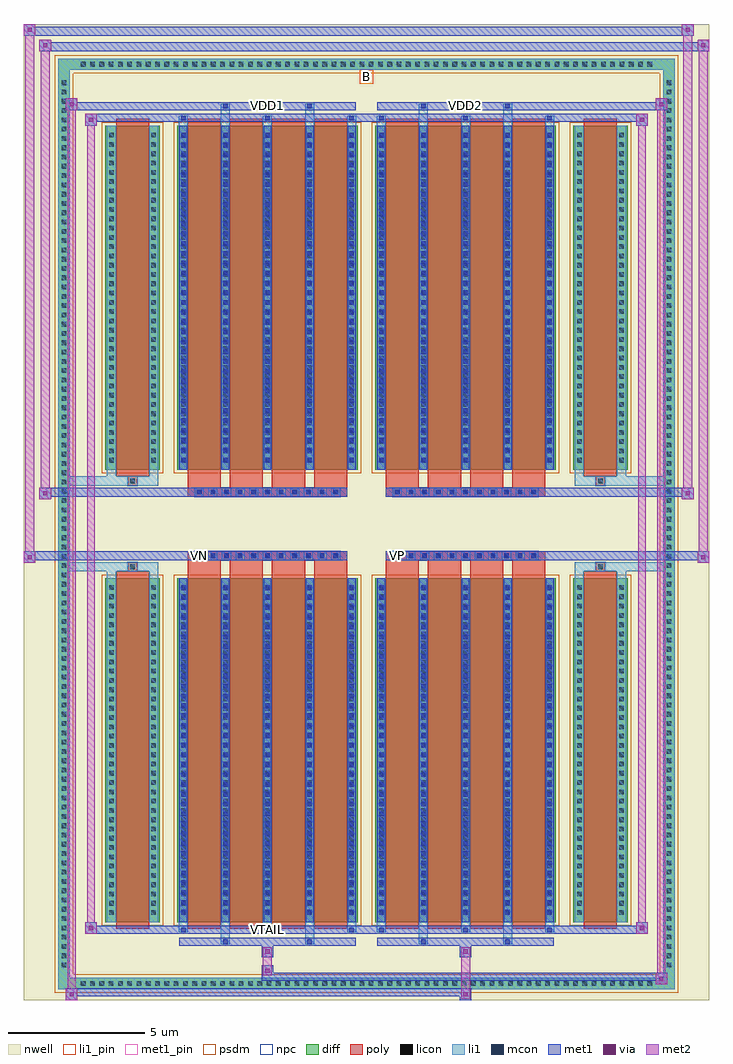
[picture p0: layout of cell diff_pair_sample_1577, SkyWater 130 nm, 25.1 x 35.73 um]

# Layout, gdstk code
import gdstk
lib = gdstk.Library(unit=1e-6, precision=5e-09)
def R(c, l, rs):  # rectangles x0, y0, x1, y1
    for r in rs: c.add(gdstk.rectangle(r[:2], r[2:], *l))
def A(c, l, x, y, w, h, nx, ny, dx, dy):  # array of equal rectangles
    R(c, l, [(x+i*dx, y+j*dy, x+i*dx+w, y+j*dy+h) for i in range(nx) for j in range(ny)])
def P(c, l, *ps):  # polygons
    for p in ps: c.add(gdstk.Polygon(p, *l))
nwell = (64, 20)
diff = (65, 20)
poly = (66, 20)
licon = (66, 44)
li1_pin = (67, 16)
li1 = (67, 20)
mcon = (67, 44)
met1_pin = (68, 16)
met1 = (68, 20)
via = (68, 44)
met2 = (69, 20)
psdm = (94, 20)
npc = (95, 20)

diff_pair_sample_1577 = lib.new_cell('diff_pair_sample_1577')
R(diff_pair_sample_1577, nwell, [(-12.55,-17.43,12.55,18.3), (-9.87,-15.62,-0.01,-0.8), (0.01,-15.62,9.87,-0.8), (-9.87,0.8,-0.01,15.62), (0.01,0.8,9.87,15.62)])
A(diff_pair_sample_1577, diff, -10.575, -17.03, 0.41, 0.41, 62, 2, 0.34, 33.65)
A(diff_pair_sample_1577, diff, -11.28, -16.355, 0.41, 0.41, 1, 96, 0, 0.34)
A(diff_pair_sample_1577, diff, 10.87, -16.355, 0.41, 0.41, 1, 96, 0, 0.34)
R(diff_pair_sample_1577, diff, [(-10.575,-17.03,10.575,-16.62), (-11.28,-16.355,-10.87,16.355), (10.87,-16.355,11.28,16.355), (-9.56,-14.575,-7.57,-1.985), (-6.93,-14.575,-0.32,-1.985), (0.32,-14.575,6.93,-1.985), (7.57,-14.575,9.56,-1.985), (-9.56,1.985,-7.57,14.575), (-6.93,1.985,-0.32,14.575), (0.32,1.985,6.93,14.575), (7.57,1.985,9.56,14.575), (-10.575,16.62,10.575,17.03)])
P(diff_pair_sample_1577, diff, [(11.28,17.03),(-11.28,17.03),(-11.28,-16.62),(-10.87,-16.62),(-10.87,16.62),(10.87,16.62),(10.87,-16.62),(-10.87,-16.62),(-11.28,-16.62),(-11.28,-17.03),(11.28,-17.03)])
A(diff_pair_sample_1577, poly, -6.54, -14.825, 1.21, 13.09, 4, 2, 1.54, 16.56)
A(diff_pair_sample_1577, poly, 0.71, -14.825, 1.21, 13.09, 4, 2, 1.54, 16.56)
A(diff_pair_sample_1577, poly, -6.54, -1.735, 1.21, 0.405, 4, 2, 1.54, 3.065)
A(diff_pair_sample_1577, poly, 0.71, -1.735, 1.21, 0.405, 4, 2, 1.54, 3.065)
A(diff_pair_sample_1577, poly, -6.29, -1.33, 0.33, 0.33, 11, 2, 0.5, 2.33)
A(diff_pair_sample_1577, poly, 0.96, -1.33, 0.33, 0.33, 11, 2, 0.5, 2.33)
R(diff_pair_sample_1577, poly, [(-9.17,-14.825,-7.96,-1.735), (7.96,-14.825,9.17,-1.735), (-8.73,-1.735,-8.4,-1.405), (-8.73,-1.735,-8.4,-1.405), (8.4,-1.735,8.73,-1.405), (8.4,-1.735,8.73,-1.405), (-6.54,-1.33,-0.71,-1), (0.71,-1.33,6.54,-1), (-6.54,1,-0.71,1.33), (0.71,1,6.54,1.33), (-8.73,1.405,-8.4,1.735), (-8.73,1.405,-8.4,1.735), (8.4,1.405,8.73,1.735), (8.4,1.405,8.73,1.735), (-9.17,1.735,-7.96,14.825), (7.96,1.735,9.17,14.825)])
A(diff_pair_sample_1577, licon, -10.455, -16.91, 0.17, 0.17, 62, 2, 0.34, 33.65)
A(diff_pair_sample_1577, licon, -11.16, -16.235, 0.17, 0.17, 1, 96, 0, 0.34)
A(diff_pair_sample_1577, licon, 10.99, -16.235, 0.17, 0.17, 1, 96, 0, 0.34)
A(diff_pair_sample_1577, licon, -9.42, -14.315, 0.17, 0.17, 1, 36, 0, 0.34)
A(diff_pair_sample_1577, licon, -7.88, -14.315, 0.17, 0.17, 1, 36, 0, 0.34)
A(diff_pair_sample_1577, licon, -6.79, -14.315, 0.17, 0.17, 5, 36, 1.54, 0.34)
A(diff_pair_sample_1577, licon, 0.46, -14.315, 0.17, 0.17, 5, 36, 1.54, 0.34)
A(diff_pair_sample_1577, licon, 7.71, -14.315, 0.17, 0.17, 1, 36, 0, 0.34)
A(diff_pair_sample_1577, licon, 9.25, -14.315, 0.17, 0.17, 1, 36, 0, 0.34)
A(diff_pair_sample_1577, licon, -6.21, -1.25, 0.17, 0.17, 11, 2, 0.5, 2.33)
A(diff_pair_sample_1577, licon, 1.04, -1.25, 0.17, 0.17, 11, 2, 0.5, 2.33)
A(diff_pair_sample_1577, licon, -9.42, 2.245, 0.17, 0.17, 1, 36, 0, 0.34)
A(diff_pair_sample_1577, licon, -7.88, 2.245, 0.17, 0.17, 1, 36, 0, 0.34)
A(diff_pair_sample_1577, licon, -6.79, 2.245, 0.17, 0.17, 5, 36, 1.54, 0.34)
A(diff_pair_sample_1577, licon, 0.46, 2.245, 0.17, 0.17, 5, 36, 1.54, 0.34)
A(diff_pair_sample_1577, licon, 7.71, 2.245, 0.17, 0.17, 1, 36, 0, 0.34)
A(diff_pair_sample_1577, licon, 9.25, 2.245, 0.17, 0.17, 1, 36, 0, 0.34)
R(diff_pair_sample_1577, licon, [(-8.65,-1.655,-8.48,-1.485), (8.48,-1.655,8.65,-1.485), (-8.65,1.485,-8.48,1.655), (8.48,1.485,8.65,1.655)])
R(diff_pair_sample_1577, li1_pin, [(-0.25,16.12,0.25,16.62)])
A(diff_pair_sample_1577, li1, -10.535, -16.99, 0.33, 0.33, 62, 2, 0.34, 33.65)
A(diff_pair_sample_1577, li1, -11.24, -16.315, 0.33, 0.33, 1, 96, 0, 0.34)
A(diff_pair_sample_1577, li1, 10.91, -16.315, 0.33, 0.33, 1, 96, 0, 0.34)
A(diff_pair_sample_1577, li1, -6.87, -14.95, 0.33, 0.375, 3, 2, 3.08, 29.525)
A(diff_pair_sample_1577, li1, -6.79, -14.95, 0.17, 0.17, 3, 2, 3.08, 29.73)
A(diff_pair_sample_1577, li1, 0.38, -14.95, 0.33, 0.375, 3, 2, 3.08, 29.525)
A(diff_pair_sample_1577, li1, 0.46, -14.95, 0.17, 0.17, 3, 2, 3.08, 29.73)
A(diff_pair_sample_1577, li1, -6.87, -14.575, 0.33, 12.59, 5, 2, 1.54, 16.56)
A(diff_pair_sample_1577, li1, 0.38, -14.575, 0.33, 12.59, 5, 2, 1.54, 16.56)
A(diff_pair_sample_1577, li1, -9.5, -14.395, 0.33, 0.33, 1, 36, 0, 0.34)
A(diff_pair_sample_1577, li1, -7.96, -14.395, 0.33, 0.33, 1, 36, 0, 0.34)
A(diff_pair_sample_1577, li1, -6.87, -14.395, 0.33, 0.33, 5, 36, 1.54, 0.34)
A(diff_pair_sample_1577, li1, 0.38, -14.395, 0.33, 0.33, 5, 36, 1.54, 0.34)
A(diff_pair_sample_1577, li1, 7.63, -14.395, 0.33, 0.33, 1, 36, 0, 0.34)
A(diff_pair_sample_1577, li1, 9.17, -14.395, 0.33, 0.33, 1, 36, 0, 0.34)
A(diff_pair_sample_1577, li1, -6.79, -14.305, 0.17, 0.17, 5, 34, 1.54, 0.36)
A(diff_pair_sample_1577, li1, -6.79, -14.305, 0.17, 12.05, 5, 2, 1.54, 16.56)
A(diff_pair_sample_1577, li1, 0.46, -14.305, 0.17, 0.17, 5, 34, 1.54, 0.36)
A(diff_pair_sample_1577, li1, 0.46, -14.305, 0.17, 12.05, 5, 2, 1.54, 16.56)
A(diff_pair_sample_1577, li1, -6.29, -1.33, 0.33, 0.33, 11, 2, 0.5, 2.33)
A(diff_pair_sample_1577, li1, 0.96, -1.33, 0.33, 0.33, 11, 2, 0.5, 2.33)
A(diff_pair_sample_1577, li1, -9.5, 2.165, 0.33, 0.33, 1, 36, 0, 0.34)
A(diff_pair_sample_1577, li1, -7.96, 2.165, 0.33, 0.33, 1, 36, 0, 0.34)
A(diff_pair_sample_1577, li1, -6.87, 2.165, 0.33, 0.33, 5, 36, 1.54, 0.34)
A(diff_pair_sample_1577, li1, 0.38, 2.165, 0.33, 0.33, 5, 36, 1.54, 0.34)
A(diff_pair_sample_1577, li1, 7.63, 2.165, 0.33, 0.33, 1, 36, 0, 0.34)
A(diff_pair_sample_1577, li1, 9.17, 2.165, 0.33, 0.33, 1, 36, 0, 0.34)
A(diff_pair_sample_1577, li1, -6.79, 2.255, 0.17, 0.17, 5, 34, 1.54, 0.36)
A(diff_pair_sample_1577, li1, 0.46, 2.255, 0.17, 0.17, 5, 34, 1.54, 0.36)
R(diff_pair_sample_1577, li1, [(-11.28,-17.03,-10.87,-16.62), (-11.28,-17.03,-10.87,-16.62), (-10.87,-17.03,10.87,-16.62), (10.87,-17.03,11.28,-16.62), (10.87,-17.03,11.28,-16.62), (-11.28,-16.62,-10.87,16.62), (10.87,-16.62,11.28,16.62), (-5.33,-15.38,-5,-14.575), (-5.25,-15.38,-5.08,-15.21), (-2.25,-15.38,-1.92,-14.575), (-2.17,-15.38,-2,-15.21), (1.92,-15.38,2.25,-14.575), (2,-15.38,2.17,-15.21), (5,-15.38,5.33,-14.575), (5.08,-15.38,5.25,-15.21), (-9.5,-14.575,-9.17,-1.985), (-7.96,-14.575,-7.63,-1.985), (7.63,-14.575,7.96,-1.985), (9.17,-14.575,9.5,-1.985), (-9.5,-1.985,-9.17,-1.405), (-7.96,-1.985,-7.63,-1.405), (7.63,-1.985,7.96,-1.405), (9.17,-1.985,9.5,-1.405), (-11.28,-1.735,-8.73,-1.405), (-9.5,-1.735,-8.73,-1.405), (-8.73,-1.735,-8.4,-1.405), (-8.4,-1.735,-7.63,-1.405), (7.63,-1.735,8.4,-1.405), (8.4,-1.735,8.73,-1.405), (8.4,-1.735,11.28,-1.405), (8.73,-1.735,9.5,-1.405), (-11.28,1.405,-8.73,1.735), (-9.5,1.405,-8.73,1.735), (-9.5,1.405,-9.17,1.985), (-8.73,1.405,-8.4,1.735), (-8.4,1.405,-7.63,1.735), (-7.96,1.405,-7.63,1.985), (7.63,1.405,8.4,1.735), (7.63,1.405,7.96,1.985), (8.4,1.405,8.73,1.735), (8.4,1.405,11.28,1.735), (8.73,1.405,9.5,1.735), (9.17,1.405,9.5,1.985), (-9.5,1.985,-9.17,14.575), (-7.96,1.985,-7.63,14.575), (7.63,1.985,7.96,14.575), (9.17,1.985,9.5,14.575), (-5.33,14.575,-5,15.38), (-2.25,14.575,-1.92,15.38), (1.92,14.575,2.25,15.38), (5,14.575,5.33,15.38), (-5.25,15.21,-5.08,15.38), (-2.17,15.21,-2,15.38), (2,15.21,2.17,15.38), (5.08,15.21,5.25,15.38), (-11.28,16.62,-10.87,17.03), (-11.28,16.62,-10.87,17.03), (-10.87,16.62,10.87,17.03), (10.87,16.62,11.28,17.03), (10.87,16.62,11.28,17.03)])
A(diff_pair_sample_1577, mcon, -6.79, -14.95, 0.17, 0.17, 3, 2, 3.08, 29.73)
A(diff_pair_sample_1577, mcon, 0.46, -14.95, 0.17, 0.17, 3, 2, 3.08, 29.73)
A(diff_pair_sample_1577, mcon, -6.79, -14.305, 0.17, 0.17, 5, 34, 1.54, 0.36)
A(diff_pair_sample_1577, mcon, 0.46, -14.305, 0.17, 0.17, 5, 34, 1.54, 0.36)
A(diff_pair_sample_1577, mcon, -6.21, -1.25, 0.17, 0.17, 11, 2, 0.5, 2.33)
A(diff_pair_sample_1577, mcon, 1.04, -1.25, 0.17, 0.17, 11, 2, 0.5, 2.33)
A(diff_pair_sample_1577, mcon, -6.79, 2.255, 0.17, 0.17, 5, 34, 1.54, 0.36)
A(diff_pair_sample_1577, mcon, 0.46, 2.255, 0.17, 0.17, 5, 34, 1.54, 0.36)
R(diff_pair_sample_1577, mcon, [(-5.25,-15.38,-5.08,-15.21), (-2.17,-15.38,-2,-15.21), (2,-15.38,2.17,-15.21), (5.08,-15.38,5.25,-15.21), (-5.25,15.21,-5.08,15.38), (-2.17,15.21,-2,15.38), (2,15.21,2.17,15.38), (5.08,15.21,5.25,15.38)])
R(diff_pair_sample_1577, met1_pin, [(-3.76,-14.99,-3.49,-14.72), (-6.26,-1.29,-5.99,-1.02), (0.99,-1.29,1.26,-1.02), (-3.76,15.17,-3.49,15.44), (3.49,15.17,3.76,15.44)])
A(diff_pair_sample_1577, met1, -6.85, -15.01, 0.29, 0.29, 3, 2, 3.08, 29.73)
A(diff_pair_sample_1577, met1, 0.4, -15.01, 0.29, 0.29, 3, 2, 3.08, 29.73)
A(diff_pair_sample_1577, met1, -6.85, -14.575, 0.29, 12.59, 5, 2, 1.54, 16.56)
A(diff_pair_sample_1577, met1, 0.4, -14.575, 0.29, 12.59, 5, 2, 1.54, 16.56)
A(diff_pair_sample_1577, met1, -6.85, -14.365, 0.29, 0.29, 5, 34, 1.54, 0.36)
A(diff_pair_sample_1577, met1, 0.4, -14.365, 0.29, 0.29, 5, 34, 1.54, 0.36)
A(diff_pair_sample_1577, met1, -6.27, -1.31, 0.29, 0.29, 11, 2, 0.5, 2.33)
A(diff_pair_sample_1577, met1, 0.98, -1.31, 0.29, 0.29, 11, 2, 0.5, 2.33)
A(diff_pair_sample_1577, met1, -6.85, 2.195, 0.29, 0.29, 5, 34, 1.54, 0.36)
A(diff_pair_sample_1577, met1, 0.4, 2.195, 0.29, 0.29, 5, 34, 1.54, 0.36)
R(diff_pair_sample_1577, met1, [(-11.01,-17.43,-10.58,-17), (3.41,-17.43,3.84,-17), (-11.01,-17.29,3.84,-17), (10.58,-16.86,11.01,-16.43), (-3.84,-16.72,11.01,-16.43), (-3.84,-16.58,-3.41,-16.15), (-3.84,-15.87,-3.41,-15.44), (3.41,-15.87,3.84,-15.44), (-6.85,-15.44,-0.4,-15.15), (-5.31,-15.44,-5.02,-15.15), (-2.23,-15.44,-1.94,-15.15), (0.4,-15.44,6.85,-15.15), (1.94,-15.44,2.23,-15.15), (5.02,-15.44,5.31,-15.15), (-10.3,-15.01,-9.87,-14.58), (-10.3,-15.01,-6.85,-14.72), (-6.85,-15.01,-0.4,-14.72), (-0.4,-15.01,0.4,-14.72), (0.4,-15.01,6.85,-14.72), (6.85,-15.01,10.3,-14.72), (9.87,-15.01,10.3,-14.58), (-12.55,-1.43,-12.12,-1), (12.12,-1.43,12.55,-1), (-12.55,-1.33,-0.71,-1), (-6.54,-1.33,-0.71,-1), (0.71,-1.33,6.54,-1), (0.71,-1.33,12.55,-1), (-11.98,0.9,-11.55,1.33), (11.55,0.9,11.98,1.33), (-11.98,1,-6.54,1.33), (-6.54,1,-0.71,1.33), (0.71,1,6.54,1.33), (6.54,1,11.98,1.33), (-10.3,14.58,-9.87,15.01), (9.87,14.58,10.3,15.01), (-10.3,14.72,-6.85,15.01), (-6.85,14.72,-0.4,15.01), (-0.4,14.72,0.4,15.01), (0.4,14.72,6.85,15.01), (6.85,14.72,10.3,15.01), (-11.01,15.15,-10.58,15.58), (-11.01,15.15,-6.85,15.44), (-6.85,15.15,-0.4,15.44), (-5.31,15.15,-5.02,15.44), (-2.23,15.15,-1.94,15.44), (0.4,15.15,6.85,15.44), (1.94,15.15,2.23,15.44), (5.02,15.15,5.31,15.44), (6.85,15.15,11.01,15.44), (10.58,15.15,11.01,15.58), (-11.98,17.3,-11.55,17.73), (-11.98,17.3,-9.87,17.63), (-9.87,17.3,9.87,17.63), (9.87,17.3,12.55,17.63), (12.12,17.3,12.55,17.73), (-12.55,17.87,-12.12,18.3), (-12.55,17.87,-9.87,18.2), (-9.87,17.87,9.87,18.2), (9.87,17.87,11.98,18.2), (11.55,17.87,11.98,18.3)])
R(diff_pair_sample_1577, via, [(-10.87,-17.29,-10.72,-17.14), (3.55,-17.29,3.7,-17.14), (10.72,-16.72,10.87,-16.57), (-3.7,-16.44,-3.55,-16.29), (-3.7,-15.73,-3.55,-15.58), (3.55,-15.73,3.7,-15.58), (-10.16,-14.87,-10.01,-14.72), (10.01,-14.87,10.16,-14.72), (-12.41,-1.29,-12.26,-1.14), (12.26,-1.29,12.41,-1.14), (-11.84,1.04,-11.69,1.19), (11.69,1.04,11.84,1.19), (-10.16,14.72,-10.01,14.87), (10.01,14.72,10.16,14.87), (-10.87,15.29,-10.72,15.44), (10.72,15.29,10.87,15.44), (-11.84,17.44,-11.69,17.59), (12.26,17.44,12.41,17.59), (-12.41,18.01,-12.26,18.16), (11.69,18.01,11.84,18.16)])
R(diff_pair_sample_1577, met2, [(-11.01,-17.43,-10.58,-17), (-10.94,-17.43,-10.65,15.58), (-10.65,-17.43,-10.58,-17), (-10.96,-17.38,-10.63,-17.05), (3.46,-17.38,3.79,-17.05), (3.46,-17.05,3.79,-15.82), (10.58,-16.86,11.01,-16.43), (10.65,-16.86,10.94,15.58), (10.94,-16.86,11.01,-16.43), (10.63,-16.81,10.96,-16.48), (-3.79,-16.53,-3.46,-16.2), (-3.79,-16.2,-3.46,-15.82), (-3.79,-15.82,-3.46,-15.49), (3.46,-15.82,3.79,-15.49), (-10.3,-15.01,-9.87,-14.58), (-10.23,-15.01,-9.94,15.01), (-9.94,-15.01,-9.87,-14.58), (9.87,-15.01,10.3,-14.58), (9.94,-15.01,10.23,15.01), (10.23,-15.01,10.3,-14.58), (-10.25,-14.96,-9.92,-14.63), (9.92,-14.96,10.25,-14.63), (-12.55,-1.43,-12.12,-1), (-12.5,-1.43,-12.17,18.3), (-12.17,-1.43,-12.12,-1), (12.12,-1.43,12.55,-1), (12.17,-1.43,12.5,17.73), (12.5,-1.43,12.55,-1), (-12.5,-1.38,-12.17,-1.05), (12.17,-1.38,12.5,-1.05), (-11.98,0.9,-11.55,1.33), (-11.93,0.9,-11.6,17.73), (-11.6,0.9,-11.55,1.33), (11.55,0.9,11.98,1.33), (11.6,0.9,11.93,18.3), (11.93,0.9,11.98,1.33), (-11.93,0.95,-11.6,1.28), (11.6,0.95,11.93,1.28), (-10.3,14.58,-9.87,15.01), (-9.94,14.58,-9.87,15.01), (9.87,14.58,10.3,15.01), (10.23,14.58,10.3,15.01), (-10.25,14.63,-9.92,14.96), (9.92,14.63,10.25,14.96), (-11.01,15.15,-10.58,15.58), (-10.65,15.15,-10.58,15.58), (10.58,15.15,11.01,15.58), (10.94,15.15,11.01,15.58), (-10.96,15.2,-10.63,15.53), (10.63,15.2,10.96,15.53), (-11.98,17.3,-11.55,17.73), (-11.6,17.3,-11.55,17.73), (12.12,17.3,12.55,17.73), (12.5,17.3,12.55,17.73), (-11.93,17.35,-11.6,17.68), (12.17,17.35,12.5,17.68), (-12.55,17.87,-12.12,18.3), (-12.17,17.87,-12.12,18.3), (11.55,17.87,11.98,18.3), (11.93,17.87,11.98,18.3), (-12.5,17.92,-12.17,18.25), (11.6,17.92,11.93,18.25)])
R(diff_pair_sample_1577, psdm, [(-9.69,-14.705,-7.44,-1.855), (-7.06,-14.705,-0.19,-1.855), (0.19,-14.705,7.06,-1.855), (7.44,-14.705,9.69,-1.855), (-9.69,1.855,-7.44,14.705), (-7.06,1.855,-0.19,14.705), (0.19,1.855,7.06,14.705), (7.44,1.855,9.69,14.705)])
P(diff_pair_sample_1577, psdm, [(11.41,17.16),(-11.41,17.16),(-11.41,-16.49),(-10.74,-16.49),(-10.74,16.49),(10.74,16.49),(10.74,-16.49),(-10.74,-16.49),(-11.41,-16.49),(-11.41,-17.16),(11.41,-17.16)])
A(diff_pair_sample_1577, npc, -6.31, -1.35, 0.37, 0.37, 11, 2, 0.5, 2.33)
A(diff_pair_sample_1577, npc, 0.94, -1.35, 0.37, 0.37, 11, 2, 0.5, 2.33)
R(diff_pair_sample_1577, npc, [(-8.75,-1.755,-8.38,-1.385), (8.38,-1.755,8.75,-1.385), (-6.31,-1.35,-5.44,-0.98), (-6.31,-1.35,-5.44,-0.98), (-5.81,-1.35,-4.94,-0.98), (-5.81,-1.35,-4.94,-0.98), (-5.31,-1.35,-4.44,-0.98), (-5.31,-1.35,-4.44,-0.98), (-4.81,-1.35,-3.94,-0.98), (-4.81,-1.35,-3.94,-0.98), (-4.31,-1.35,-3.44,-0.98), (-4.31,-1.35,-3.44,-0.98), (-3.81,-1.35,-2.94,-0.98), (-3.81,-1.35,-2.94,-0.98), (-3.31,-1.35,-2.44,-0.98), (-3.31,-1.35,-2.44,-0.98), (-2.81,-1.35,-1.94,-0.98), (-2.81,-1.35,-1.94,-0.98), (-2.31,-1.35,-1.44,-0.98), (-2.31,-1.35,-1.44,-0.98), (-1.81,-1.35,-0.94,-0.98), (-1.81,-1.35,-0.94,-0.98), (0.94,-1.35,1.81,-0.98), (0.94,-1.35,1.81,-0.98), (1.44,-1.35,2.31,-0.98), (1.44,-1.35,2.31,-0.98), (1.94,-1.35,2.81,-0.98), (1.94,-1.35,2.81,-0.98), (2.44,-1.35,3.31,-0.98), (2.44,-1.35,3.31,-0.98), (2.94,-1.35,3.81,-0.98), (2.94,-1.35,3.81,-0.98), (3.44,-1.35,4.31,-0.98), (3.44,-1.35,4.31,-0.98), (3.94,-1.35,4.81,-0.98), (3.94,-1.35,4.81,-0.98), (4.44,-1.35,5.31,-0.98), (4.44,-1.35,5.31,-0.98), (4.94,-1.35,5.81,-0.98), (4.94,-1.35,5.81,-0.98), (5.44,-1.35,6.31,-0.98), (5.44,-1.35,6.31,-0.98), (-6.31,0.98,-5.44,1.35), (-6.31,0.98,-5.44,1.35), (-5.81,0.98,-4.94,1.35), (-5.81,0.98,-4.94,1.35), (-5.31,0.98,-4.44,1.35), (-5.31,0.98,-4.44,1.35), (-4.81,0.98,-3.94,1.35), (-4.81,0.98,-3.94,1.35), (-4.31,0.98,-3.44,1.35), (-4.31,0.98,-3.44,1.35), (-3.81,0.98,-2.94,1.35), (-3.81,0.98,-2.94,1.35), (-3.31,0.98,-2.44,1.35), (-3.31,0.98,-2.44,1.35), (-2.81,0.98,-1.94,1.35), (-2.81,0.98,-1.94,1.35), (-2.31,0.98,-1.44,1.35), (-2.31,0.98,-1.44,1.35), (-1.81,0.98,-0.94,1.35), (-1.81,0.98,-0.94,1.35), (0.94,0.98,1.81,1.35), (0.94,0.98,1.81,1.35), (1.44,0.98,2.31,1.35), (1.44,0.98,2.31,1.35), (1.94,0.98,2.81,1.35), (1.94,0.98,2.81,1.35), (2.44,0.98,3.31,1.35), (2.44,0.98,3.31,1.35), (2.94,0.98,3.81,1.35), (2.94,0.98,3.81,1.35), (3.44,0.98,4.31,1.35), (3.44,0.98,4.31,1.35), (3.94,0.98,4.81,1.35), (3.94,0.98,4.81,1.35), (4.44,0.98,5.31,1.35), (4.44,0.98,5.31,1.35), (4.94,0.98,5.81,1.35), (4.94,0.98,5.81,1.35), (5.44,0.98,6.31,1.35), (5.44,0.98,6.31,1.35), (-8.75,1.385,-8.38,1.755), (8.38,1.385,8.75,1.755)])
diff_pair_sample_1577.add(gdstk.Label('VTAIL', (-3.625,-14.855), layer=68, texttype=5))
diff_pair_sample_1577.add(gdstk.Label('VN', (-6.125,-1.155), layer=68, texttype=5))
diff_pair_sample_1577.add(gdstk.Label('VP', (1.125,-1.155), layer=68, texttype=5))
diff_pair_sample_1577.add(gdstk.Label('B', (0,16.37), layer=67, texttype=5))
diff_pair_sample_1577.add(gdstk.Label('VDD2', (3.625,15.305), layer=68, texttype=5))
diff_pair_sample_1577.add(gdstk.Label('VDD1', (-3.625,15.305), layer=68, texttype=5))

lib.write_gds('diff_pair_sample_1577.gds')
